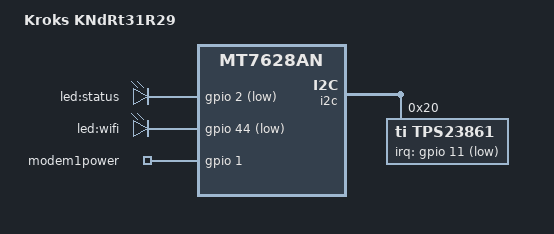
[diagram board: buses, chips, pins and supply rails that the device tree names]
#include "mt7628an_kroks_5eth.dtsi"

/ {
	compatible = "kroks,kndrt31r29", "mediatek,mt7628an-soc";
	model = "Kroks KNdRt31R29";

	aliases {
		led-boot = &led_status;
		led-failsafe = &led_status;
		led-running = &led_status;
		led-upgrade = &led_status;
	};

	leds {
		compatible = "gpio-leds";

		led_status: status {
			label = "led:status";
			gpios = <&gpio 2 GPIO_ACTIVE_LOW>;
		};

		wifi {
			label = "led:wifi";
			gpios = <&gpio 44 GPIO_ACTIVE_LOW>;
			linux,default-trigger = "phy0tpt";
		};
	};

	gpio_export {
		compatible = "gpio-export";
		#size-cells = <0>;

		modem1power {
			gpio-export,name = "modem1power";
			gpio-export,output = <1>;
			gpios = <&gpio 1 GPIO_ACTIVE_HIGH>;
		};
	};
};

&i2c {
	status = "okay";

	tps23861@20 {
		status = "okay";

		compatible = "ti,tps23861";
		reg = <0x20>;
		irq-gpios = <&gpio 11 GPIO_ACTIVE_LOW>;

		port0@0 {
			enable = <1>;
			mode = "manual";
			power = <0>;
		};

		port1@1 {
			enable = <1>;
			mode = "manual";
			power = <0>;
		};

		port2@2 {
			enable = <1>;
			mode = "manual";
			power = <0>;
		};

		port3@3 {
			enable = <1>;
			mode = "manual";
			power = <0>;
		};
	};
};

&state_default {
	gpio {
		groups = "i2s", "gpio", "refclk", "wled_an";
		function = "gpio";
	};
};
